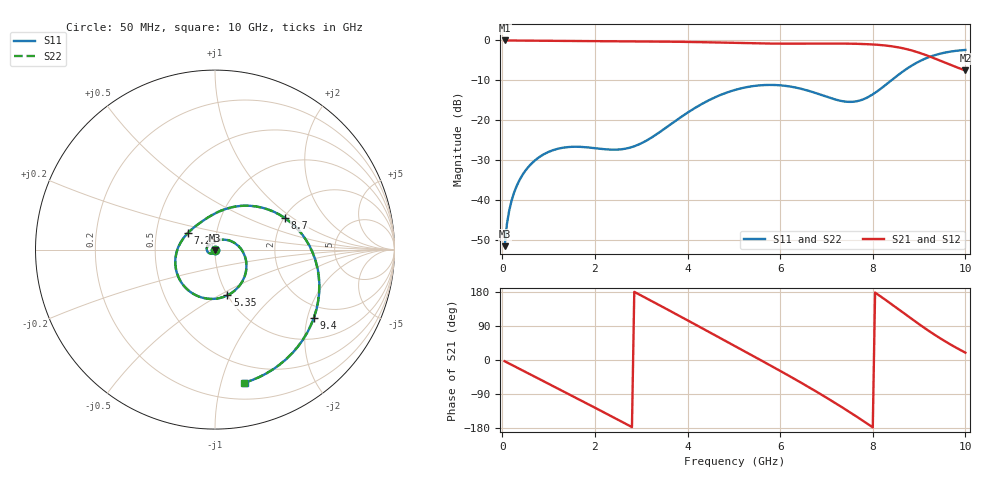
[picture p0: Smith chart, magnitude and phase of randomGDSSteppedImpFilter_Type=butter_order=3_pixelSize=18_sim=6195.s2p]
! freq	dB(S11)	phase(S11)	dB(S12)	phase(S12)
!  dB(S21)	phase(S21)	dB(S22)	phase(S22)
!S-par simulation data
#  GHz  S  DB  R 50
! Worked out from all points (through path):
!   200 points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, 50 MHz to 10 GHz, reference 50 ohm
!   highest |S21| = -0.01 dB at 50 MHz (marker M1); lowest = -7.5 dB at 10 GHz (marker M2)
!   group delay of S21, straight-line fit = 193 ps
!   lowest |S11| = -51.6 dB at 50 MHz (marker M3), VSWR 1.01, Z = 50 - j0.26 ohm
!   |S11| at or under -10 dB: start of sweep to 8.402 GHz
!   |S22| runs from -51.6 to -2.4 dB; largest |S21 - S12| = 0
!   S11 on the Smith chart (normalised r, x): 50 MHz: 1.00, -0.01; 5.35 GHz: 1.00, -0.55; 7.25 GHz: 0.72, +0.14; 8.7 GHz: 2.02, +0.87; 9.4 GHz: 1.60, -2.20; 10 GHz: 0.34, -1.19
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0.05  -51.60 -80.3  -0.01 -3.2  -0.01 -3.2  -51.60 -80.2
0.2  -40.20 -99.5  -0.02 -12.6  -0.02 -12.6  -40.19 -99.4
0.55  -31.91 -124.5  -0.05 -34.6  -0.05 -34.6  -31.91 -124.5
1.15  -27.32 -163.9  -0.10 -72.2  -0.10 -72.2  -27.32 -163.8
1.75  -26.73 157.3  -0.14 -110.0  -0.14 -110.0  -26.73 157.6
2.6  -27.26 102.0  -0.20 -164.1  -0.20 -164.1  -27.26 102.7
3  -25.81 76.4  -0.24 170.1  -0.24 170.1  -25.81 77.2
3.4  -22.99 51.2  -0.28 144.2  -0.28 144.2  -22.99 51.9
3.8  -19.69 25.9  -0.34 117.9  -0.34 117.9  -19.69 26.4
4.2  -16.66 0.2  -0.41 91.5  -0.41 91.5  -16.66 0.7
4.6  -14.23 -25.8  -0.51 64.9  -0.51 64.9  -14.23 -25.4
5.05  -12.33 -55.3  -0.64 35.0  -0.64 35.0  -12.33 -54.8
5.35  -11.57 -75.0  -0.72 15.0  -0.72 15.0  -11.56 -74.5
6  -11.26 -118.4  -0.81 -28.7  -0.81 -28.7  -11.25 -117.9
6.7  -12.94 -167.8  -0.78 -77.5  -0.78 -77.5  -12.94 -167.1
7.25  -15.00 149.2  -0.77 -118.2  -0.77 -118.2  -15.00 150.0
7.85  -14.49 97.9  -0.92 -165.4  -0.92 -165.4  -14.50 98.4
8.35  -10.49 54.9  -1.37 152.1  -1.37 152.1  -10.49 55.0
8.7  -7.38 24.4  -2.09 121.0  -2.09 121.0  -7.39 24.3
9  -5.28 -1.7  -3.07 94.5  -3.07 94.5  -5.28 -1.8
9.4  -3.49 -34.5  -4.81 61.5  -4.81 61.5  -3.49 -34.7
10  -2.38 -77.3  -7.52 19.4  -7.52 19.4  -2.38 -77.6
